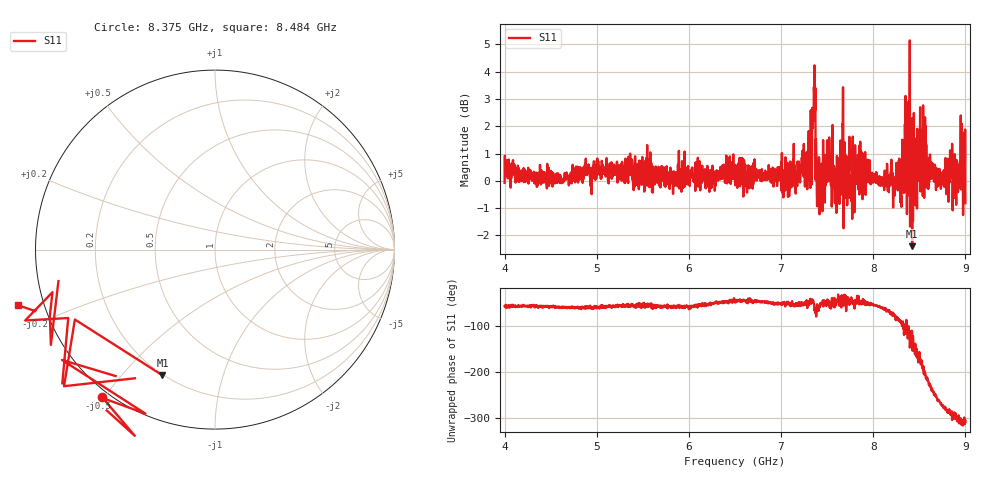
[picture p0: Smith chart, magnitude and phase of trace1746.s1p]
! Created with skrf 1.8.0 (http://scikit-rf.org).
# Hz S RI R 50.0
!freq ReS11 ImS11
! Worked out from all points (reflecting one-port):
!   1601 points, 4 GHz to 9 GHz, reference 50 ohm
!   lowest |S11| = -2.4 dB at 8.422 GHz (marker M1), VSWR 7.30, Z = 9.81 - j32.4 ohm
!   phase of S11 starts at -57 deg and turns -248 deg over the sweep
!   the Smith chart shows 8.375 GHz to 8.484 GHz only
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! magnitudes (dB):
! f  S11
! 4 GHz  -0.1
! 4.625 GHz  -0.1
! 5.25 GHz  0.2
! 5.875 GHz  0.0
! 6.5 GHz  0.2
! 7.125 GHz  0.7
! 7.294 GHz  0.2
! 7.328 GHz  0.0
! 7.347 GHz  2.7
! 7.362 GHz  4.2
! 7.4 GHz  -0.5
! 7.412 GHz  0.9
! 7.512 GHz  0.8
! 7.609 GHz  0.5
! 7.65 GHz  1.4
! 7.75 GHz  -0.1
! 7.85 GHz  -0.5
! 8.288 GHz  -0.1
! 8.375 GHz  0.3
! 8.422 GHz  -2.4
! 8.475 GHz  -1.0
! 8.553 GHz  -0.6
! 8.606 GHz  -0.1
! 8.722 GHz  0.0
! 8.834 GHz  1.1
! 8.912 GHz  0.6
! 8.972 GHz  0.8
! 9 GHz  -0.8
